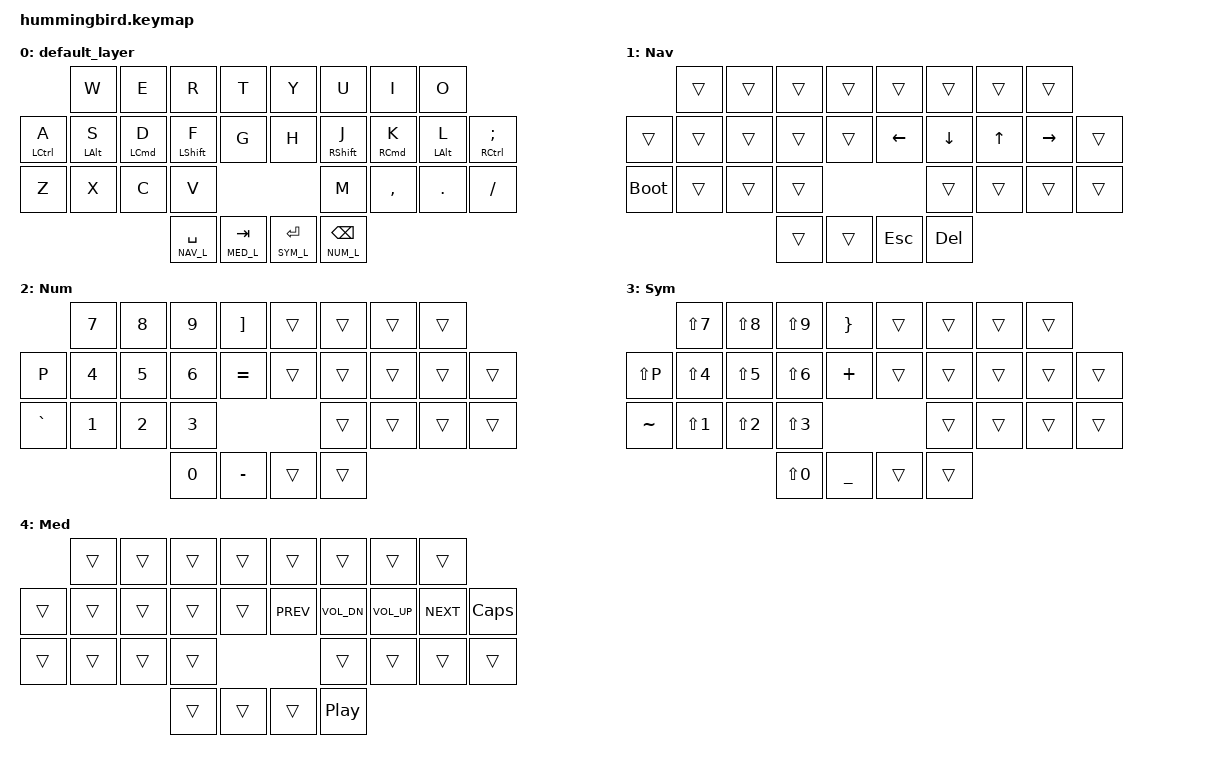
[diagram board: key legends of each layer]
/*
 * Copyright (c) 2022 The ZMK Contributors
 *
 * SPDX-License-Identifier: MIT
 */

#include <behaviors.dtsi>
#include <dt-bindings/zmk/keys.h>

/* Key positions
    0  1  2  3         4  5  6  7
8  9  10 11 12        13 14 15 16 17
18 19 20 21              22 23 24 25
            26 27  28 29            */

#define KEYS_L 0 1 2 3 8 9 10 11 12 18 19 20 21 
#define KEYS_R 4 5 6 7 13 14 15 16 17 22 23 24 25
#define KEYS_T 26 27 28 29

#define DEF_L 0
#define NAV_L 1
#define NUM_L 2
#define SYM_L 3
#define MED_L 4

&lt { flavor = "balanced"; };

/* This is for snoyer's capslock based caps_word */
&caps_word {
  disable-on-keys = <SPACE TAB ENTER PERIOD>;
};

/ {
    behaviors {
        hsl: homerow_shift_left {
            compatible = "zmk,behavior-hold-tap";
            label = "homerow shift left";
            #binding-cells = <2>;
            flavor = "balanced";
            tapping-term-ms = <180>;
            quick-tap-ms = <175>;
            global-quick-tap-ms = <50>; // the greater the value, the harder it will be to invoke the hold behavior
            bindings = <&kp>, <&kp>;
            hold-trigger-key-positions = <KEYS_R KEYS_T>;
            hold-trigger-on-release;             // delay positional check until key-release
        };

        hsr: homerow_shift_right {
            compatible = "zmk,behavior-hold-tap";
            label = "homerow shift right";
            #binding-cells = <2>;
            flavor = "balanced";
            tapping-term-ms = <180>;
            quick-tap-ms = <175>;
            global-quick-tap-ms = <50>; // the greater the value, the harder it will be to invoke the hold behavior
            bindings = <&kp>, <&kp>;
            hold-trigger-key-positions = <KEYS_L KEYS_T>;
            hold-trigger-on-release;             // delay positional check until key-release
        };

        hml: homerow_mods_left {
            compatible = "zmk,behavior-hold-tap";
            label = "homerow mods left";
            #binding-cells = <2>;
            flavor = "balanced";
            tapping-term-ms = <280>;
            quick-tap-ms = <175>; // the greater the value, the harder it will be to invoke the hold behavior
            global-quick-tap-ms = <150>; // requires PR #1387
            bindings = <&kp>, <&kp>;
            hold-trigger-key-positions = <KEYS_R KEYS_T>;
            hold-trigger-on-release;             // delay positional check until key-release
        };

        hmr: homerow_mods_right {
            compatible = "zmk,behavior-hold-tap";
            label = "homrow mods right";
            #binding-cells = <2>;
            flavor = "balanced";
            tapping-term-ms = <280>;
            quick-tap-ms = <175>; // the greater the value, the harder it will be to invoke the hold behavior
            global-quick-tap-ms = <150>; // requires PR #1387
            bindings = <&kp>, <&kp>;
            hold-trigger-key-positions = <KEYS_L KEYS_T>;
            hold-trigger-on-release;             // delay positional check until key-release
        };
    };

    /* Key positions
       0  1  2  3         4  5  6  7
    8  9  10 11 12        13 14 15 16 17
    18 19 20 21              22 23 24 25
                26 27  28 29            */
    combos {
        compatible = "zmk,combos";
        q   { key-positions = <0 1>;   bindings = <&kp Q>;   layers = <DEF_L>; timeout-ms = <60>; };
        sqt { key-positions = <6 7>;   bindings = <&kp SQT>; layers = <DEF_L>; timeout-ms = <60>; };
        v   { key-positions = <20 21>; bindings = <&kp B>;   layers = <DEF_L>; timeout-ms = <60>; };
        k   { key-positions = <22 23>; bindings = <&kp N>;   layers = <DEF_L>; timeout-ms = <99>; };

        esc_l { key-positions = <9 10>; bindings = <&kp ESC>;  layers = <DEF_L>; global-quick-tap-ms = <150>; };

        lbkt { key-positions = <0 1>;   bindings = <&kp LBKT>; layers = <NUM_L>; global-quick-tap-ms = <150>; };
        lbrc { key-positions = <0 1>;   bindings = <&kp LBRC>; layers = <SYM_L>; global-quick-tap-ms = <150>; };
        bslh { key-positions = <20 21>; bindings = <&kp BSLH>; layers = <NUM_L>; global-quick-tap-ms = <150>; };
        pipe { key-positions = <20 21>; bindings = <&kp PIPE>; layers = <SYM_L>; global-quick-tap-ms = <150>; };

        cw { key-positions = <18 25>; bindings = <&caps_word>; layers = <DEF_L>; timeout-ms = <75>; global-quick-tap-ms = <150>; };

        lf_arr { key-positions = <5 6>;   bindings = <&lf_arr>; layers = <SYM_L>; };
        ls_arr { key-positions = <6 7>;   bindings = <&ls_arr>; layers = <SYM_L>; };
        rf_arr { key-positions = <14 15>; bindings = <&rf_arr>; layers = <SYM_L>; };
        rs_arr { key-positions = <15 16>; bindings = <&rs_arr>; layers = <SYM_L>; };
        expipe { key-positions = <19 20>; bindings = <&expipe>; layers = <SYM_L>; };
        eextag { key-positions = <23 24>; bindings = <&eextag>; layers = <SYM_L>; global-quick-tap-ms = <150>; };
    };

    macros {
      ZMK_MACRO(rf_arr, bindings = <&kp EQUAL &kp GT>;)
      ZMK_MACRO(rs_arr, bindings = <&kp MINUS &kp GT>;)
      ZMK_MACRO(lf_arr, bindings = <&kp LT &kp EQUAL>;)
      ZMK_MACRO(ls_arr, bindings = <&kp LT &kp MINUS>;)
      ZMK_MACRO(expipe, bindings = <&kp PIPE &kp GT &kp SPACE>;)
      ZMK_MACRO(eextag, bindings = <&kp LT &kp PRCNT &kp EQUAL &kp SPACE &kp SPACE &kp PRCNT &kp GT &kp LEFT &kp LEFT &kp LEFT>;)
    };

    keymap {
        compatible = "zmk,keymap";

        default_layer {
            bindings = <
                             &kp W       &kp E        &kp R           &kp T         &kp Y            &kp U           &kp I        &kp O
                &hml LCTRL A &hml LALT S &hml LCMD D  &hsl LSHFT F    &kp G         &kp H            &hsr RSHFT J    &hmr RCMD K  &hmr LALT L  &hmr RCTRL SEMI
                &kp Z        &kp X       &kp C        &kp V                                          &kp M           &kp COMMA    &kp DOT      &kp FSLH
                                                      &lt NAV_L SPACE &lt MED_L TAB &lt SYM_L RET    &lt NUM_L BSPC
            >;
        };

        nav_layer {
            label = "Nav";
            bindings = <
                           &trans     &trans      &trans          &trans       &trans           &trans         &trans   &trans
                &trans     &trans     &trans      &trans          &trans       &kp LEFT         &kp DOWN       &kp UP   &kp RIGHT  &trans
              &bootloader  &trans     &trans      &trans                                        &trans         &trans   &trans     &trans
                                                  &trans          &trans       &kp ESC          &kp DEL
            >;
        };

        num_layer {
            label = "Num";
            bindings = <
                           &kp N7     &kp N8      &kp N9          &kp RBKT      &trans          &trans         &trans      &trans
                &kp P      &kp N4     &kp N5      &kp N6          &kp EQUAL     &trans          &trans         &trans      &trans     &trans
                &kp GRAVE  &kp N1     &kp N2      &kp N3                                        &trans         &trans      &trans     &trans
                                                  &kp N0          &kp MINUS     &trans          &trans
            >;
        };

        sym_layer {
            label = "Sym";
            bindings = <
                           &kp LS(N7) &kp LS(N8)  &kp LS(N9)      &kp RBRC      &trans          &trans         &trans      &trans
                &kp LS(P)  &kp LS(N4) &kp LS(N5)  &kp LS(N6)      &kp PLUS      &trans          &trans         &trans      &trans     &trans
                &kp TILDE  &kp LS(N1) &kp LS(N2)  &kp LS(N3)                                    &trans         &trans      &trans     &trans
                                                  &kp LS(N0)      &kp UNDER     &trans          &trans
            >;
        };

        med_layer {
            label = "Med";
            bindings = <
                           &trans     &trans      &trans          &trans       &trans           &trans         &trans       &trans
                &trans     &trans     &trans      &trans          &trans       &kp C_PREV       &kp C_VOL_DN   &kp C_VOL_UP &kp C_NEXT  &kp CAPSLOCK
                &trans     &trans     &trans      &trans                                        &trans         &trans       &trans      &trans
                                                  &trans          &trans       &trans           &kp C_PP
            >;
        };

    };
};
